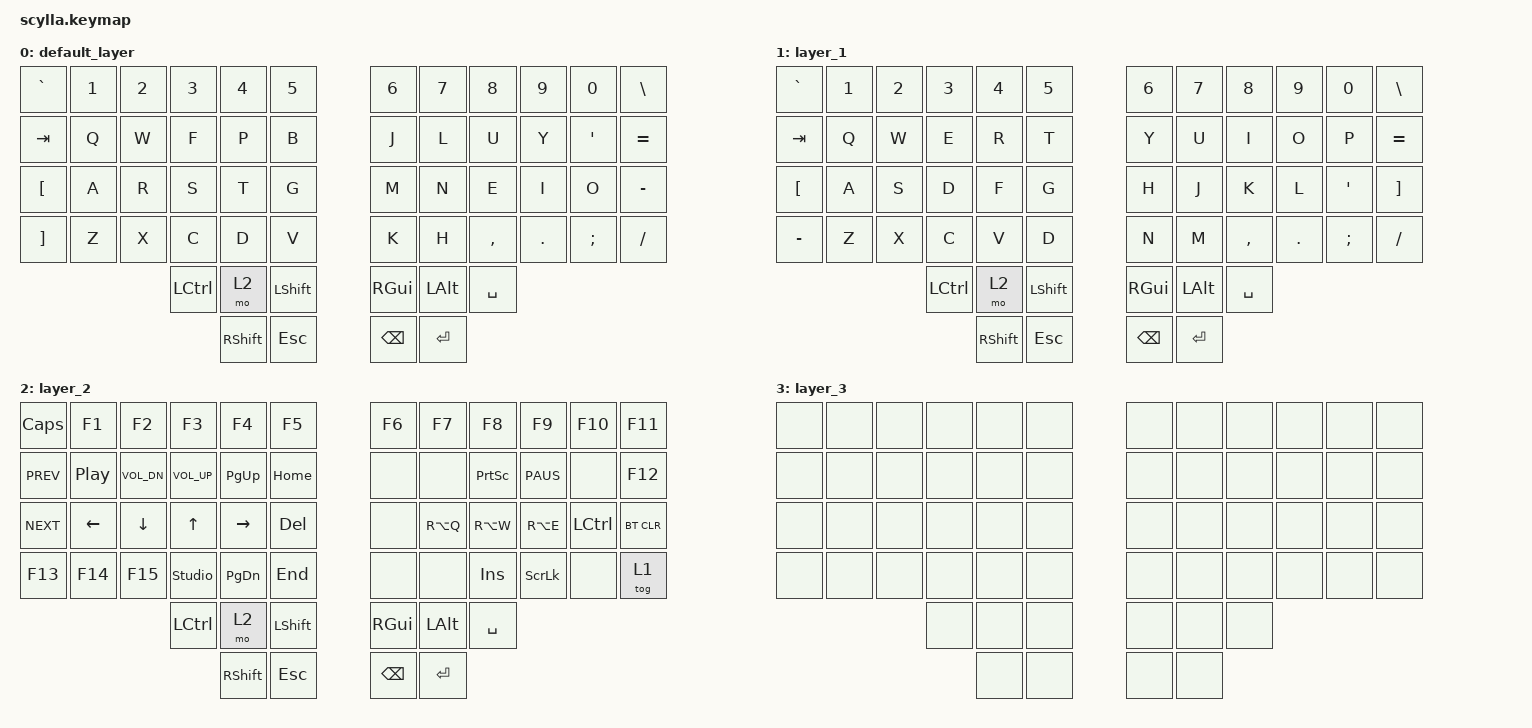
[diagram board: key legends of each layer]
#include <behaviors.dtsi>
#include <dt-bindings/zmk/keys.h>
#include <dt-bindings/zmk/bt.h>

/ {
    keymap {
        compatible = "zmk,keymap";

        default_layer { // Base layer
            bindings = <
                &kp GRAVE   &kp N1      &kp N2      &kp N3      &kp N4      &kp N5      &kp N6      &kp N7      &kp N8      &kp N9      &kp N0      &kp BSLH
                &kp TAB     &kp Q       &kp W       &kp F       &kp P       &kp B       &kp J       &kp L       &kp U       &kp Y       &kp SQT    &kp EQUAL
                &kp LBKT    &kp A       &kp R       &kp S       &kp T       &kp G       &kp M       &kp N       &kp E       &kp I       &kp O       &kp MINUS
                &kp RBKT    &kp Z       &kp X       &kp C       &kp D       &kp V       &kp K       &kp H       &kp COMMA   &kp DOT     &kp SEMI    &kp FSLH
                                &kp LCTRL   &mo 2       &kp LSHFT   &kp RSHFT   &kp ESC     &kp RGUI
                                            &kp LALT    &kp SPACE   &kp BSPC    &kp ENTER
            >;
        };

        layer_1 { // Qwerty layer
            bindings = <
                &kp GRAVE   &kp N1      &kp N2      &kp N3      &kp N4      &kp N5      &kp N6      &kp N7      &kp N8      &kp N9      &kp N0      &kp BSLH
                &kp TAB     &kp Q       &kp W       &kp E       &kp R       &kp T       &kp Y       &kp U       &kp I       &kp O       &kp P       &kp EQUAL
                &kp LBKT    &kp A       &kp S       &kp D       &kp F       &kp G       &kp H       &kp J       &kp K       &kp L       &kp SQT    &kp RBKT
                &kp MINUS   &kp Z       &kp X       &kp C       &kp V       &kp D       &kp N       &kp M       &kp COMMA   &kp DOT     &kp SEMI   &kp FSLH
                                &kp LCTRL   &mo 2       &kp LSHFT   &kp RSHFT   &kp ESC     &kp RGUI
                                            &kp LALT    &kp SPACE   &kp BSPC    &kp ENTER
            >;
        };

        layer_2 { // Function and Media Keys layer
            bindings = <
                &kp CAPS      &kp F1      &kp F2      &kp F3      &kp F4      &kp F5      &kp F6      &kp F7      &kp F8      &kp F9      &kp F10     &kp F11
                &kp C_PREV    &kp C_PP   &kp C_VOL_DN   &kp C_VOL_UP   &kp PG_UP    &kp HOME   &none      &none      &kp PSCRN   &kp PAUS    &none  &kp F12
                &kp C_NEXT    &kp LEFT    &kp DOWN   &kp UP      &kp RIGHT   &kp DEL   &none       &kp RA(Q)  &kp RA(W)  &kp RA(E)  &kp LCTRL      &bt BT_CLR
                &kp F13     &kp F14    &kp F15    &studio_unlock    &kp PG_DN   &kp END   &none      &none     &kp INS    &kp SLCK   &none     &tog 1
                                &kp LCTRL   &mo 2      &kp LSHFT   &kp RSHFT  &kp ESC    &kp RGUI
                                            &kp LALT   &kp SPACE  &kp BSPC    &kp ENTER
            >;
        };

        layer_3 { // Empty layer
            bindings = <
                &none   &none   &none   &none   &none   &none   &none   &none   &none   &none   &none   &none
                &none   &none   &none   &none   &none   &none   &none   &none   &none   &none   &none   &none
                &none   &none   &none   &none   &none   &none   &none   &none   &none   &none   &none   &none
                &none   &none   &none   &none   &none   &none   &none   &none   &none   &none   &none   &none
                                        &none   &none   &none   &none   &none   &none
                                                &none   &none   &none   &none
            >;
        };
    };
};
